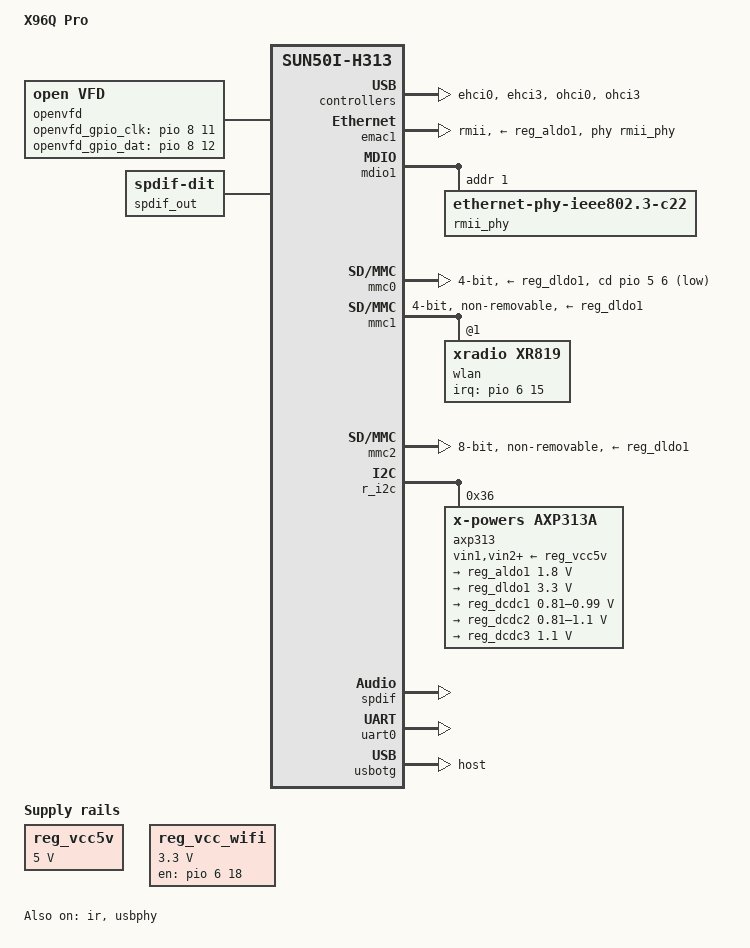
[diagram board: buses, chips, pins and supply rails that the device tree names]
// SPDX-License-Identifier: (GPL-2.0+ or MIT)
/*
 */

/dts-v1/;

#include "sun50i-h616.dtsi"

#include <dt-bindings/gpio/gpio.h>
#include <dt-bindings/interrupt-controller/arm-gic.h>

/ {
	model = "X96Q Pro";
	compatible = "sunnzo,x96q-pro", "allwinner,sun50i-h313";

	aliases {
		serial0 = &uart0;
		ethernet0 = &emac1;
		ethernet1 = &wlan;
	};

	chosen {
		stdout-path = "serial0:115200n8";
	};

	openvfd {
		compatible = "open,vfd";
		dev_name = "openvfd";
		openvfd_gpio_clk = <&pio 8 11 (GPIO_ACTIVE_HIGH|GPIO_OPEN_DRAIN)>;
		openvfd_gpio_dat = <&pio 8 12 (GPIO_ACTIVE_HIGH|GPIO_OPEN_DRAIN)>;
		vfd_gpio_chip_name = "0300b000.pinctrl";
		openvfd_chars = [02 04 03 02 01];
		openvfd_dot_bits = [00 01 03 02 04 05 06];
		openvfd_display_type = <0x03000001>;
		status = "okay";
	};

	reg_vcc5v: vcc5v {
		/* board wide 5V supply directly from the DC input */
		compatible = "regulator-fixed";
		regulator-name = "vcc-5v";
		regulator-min-microvolt = <5000000>;
		regulator-max-microvolt = <5000000>;
		regulator-always-on;
	};

	reg_vcc_wifi: reg_vcc_wifi {
		compatible = "regulator-fixed";
		regulator-name = "vcc-wifi";
		regulator-min-microvolt = <3300000>;
		regulator-max-microvolt = <3300000>;
		gpio = <&pio 6 18 GPIO_ACTIVE_HIGH>; /* PG18 WL_REG_ON */
		regulator-always-on;
		enable-active-high;
		status = "okay";
	};

	sound-spdif {
		compatible = "simple-audio-card";
		simple-audio-card,name = "sun50i-h6-spdif";

		simple-audio-card,cpu {
			sound-dai = <&spdif>;
		};

		simple-audio-card,codec {
			sound-dai = <&spdif_out>;
		};
	};

	spdif_out: spdif-out {
		#sound-dai-cells = <0>;
		compatible = "linux,spdif-dit";
	};

	wifi_pwrseq: wifi_pwrseq {
		compatible = "mmc-pwrseq-simple";
		post-power-on-delay-ms = <200>;
	};
};

&ehci0 {
	status = "okay";
};

&ehci3 {
	status = "okay";
};

&emac1 {
	pinctrl-names = "default";
	pinctrl-0 = <&rmii_pins>;
	phy-mode = "rmii";
	phy-handle = <&rmii_phy>;
	phy-supply = <&reg_aldo1>;
	allwinner,rx-delay-ps = <3100>;
	allwinner,tx-delay-ps = <700>;
	status = "okay";
};

&ir {
	status = "okay";
};

&mdio1 {
	rmii_phy: ethernet-phy@1 {
		compatible = "ethernet-phy-ieee802.3-c22";
		reg = <1>;
	};
};

&mmc0 {
	vmmc-supply = <&reg_dldo1>;
	cd-gpios = <&pio 5 6 GPIO_ACTIVE_LOW>;	/* PF6 */
	bus-width = <4>;
	status = "okay";
};

&mmc1 {
	vmmc-supply = <&reg_dldo1>;
	vqmmc-supply = <&reg_vcc_wifi>;
	mmc-pwrseq = <&wifi_pwrseq>;
	bus-width = <4>;
	non-removable;
	status = "okay";

	wlan: wifi@1 {
		reg = <1>;
		compatible = "xradio,xr819",
			     "brcm,bcm4329-fmac";
		interrupt-parent = <&pio>;
		interrupts = <6 15 IRQ_TYPE_EDGE_RISING>; /* PG15 WL_HOSTWAKE*/
		interrupt-names = "host-wake";
		local-mac-address = [dc 44 6d c0 ff 03];
	};
};

&mmc2 {
	vmmc-supply = <&reg_dldo1>;
	vqmmc-supply = <&reg_aldo1>;
	bus-width = <8>;
	non-removable;
	cap-mmc-hw-reset;
	mmc-ddr-1_8v;
	mmc-hs200-1_8v;
	status = "okay";
};

&ohci0 {
	status = "okay";
};

&ohci3 {
	status = "okay";
};

&pio {
	vcc-pc-supply = <&reg_dldo1>;
	vcc-pf-supply = <&reg_dldo1>;
	vcc-pg-supply = <&reg_aldo1>;
	vcc-ph-supply = <&reg_dldo1>;
	vcc-pi-supply = <&reg_dldo1>;
};

&r_i2c {
	status = "okay";

	axp313: pmic@36 {
		compatible = "x-powers,axp313a";
		reg = <0x36>;
		#interrupt-cells = <1>;
		interrupt-controller;

		vin1-supply = <&reg_vcc5v>;
		vin2-supply = <&reg_vcc5v>;
		vin3-supply = <&reg_vcc5v>;

		regulators {
			/* Supplies VCC-PLL, so needs to be always on. */
			reg_aldo1: aldo1 {
				regulator-always-on;
				regulator-min-microvolt = <1800000>;
				regulator-max-microvolt = <1800000>;
				regulator-name = "vcc1v8";
			};

			/* Supplies VCC-IO, so needs to be always on. */
			reg_dldo1: dldo1 {
				regulator-always-on;
				regulator-min-microvolt = <3300000>;
				regulator-max-microvolt = <3300000>;
				regulator-name = "vcc3v3";
			};

			reg_dcdc1: dcdc1 {
				regulator-always-on;
				regulator-min-microvolt = <810000>;
				regulator-max-microvolt = <990000>;
				regulator-name = "vdd-gpu-sys";
			};

			reg_dcdc2: dcdc2 {
				regulator-always-on;
				regulator-min-microvolt = <810000>;
				regulator-max-microvolt = <1100000>;
				regulator-name = "vdd-cpu";
			};

			reg_dcdc3: dcdc3 {
				regulator-always-on;
				regulator-min-microvolt = <1100000>;
				regulator-max-microvolt = <1100000>;
				regulator-name = "vdd-dram";
			};
		};
	};
};

&spdif {
	status = "okay";
};

&uart0 {
	pinctrl-names = "default";
	pinctrl-0 = <&uart0_ph_pins>;
	status = "okay";
};

&usbotg {
	dr_mode = "host";	/* USB A type receptable */
	status = "okay";
};

&usbphy {
	status = "okay";
};
